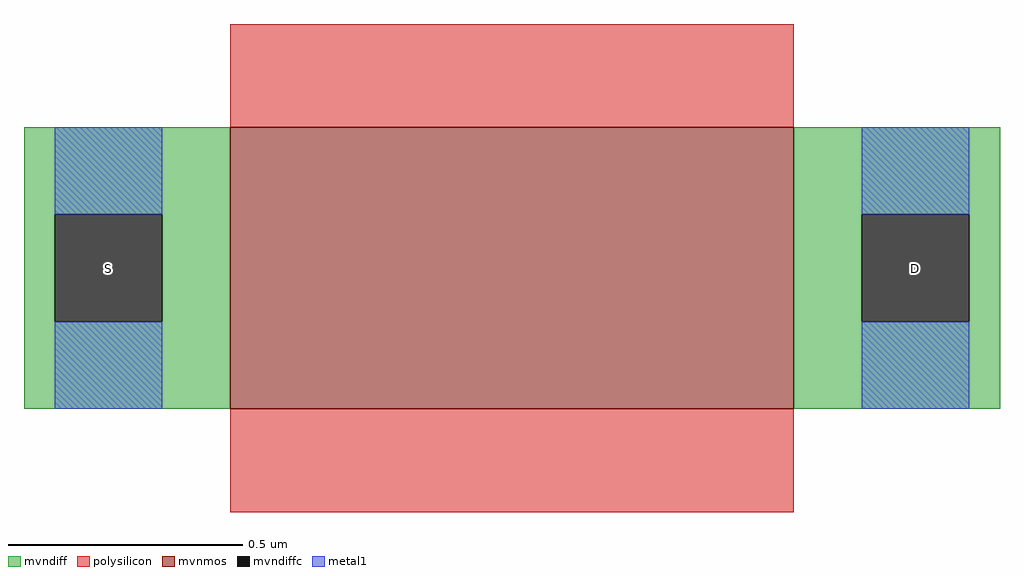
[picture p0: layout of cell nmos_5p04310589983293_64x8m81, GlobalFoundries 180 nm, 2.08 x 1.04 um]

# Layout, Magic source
magic
tech gf180mcuC
magscale 1 10
<< mvnmos >>
rect 0 0 240 120
<< mvndiff >>
rect -88 83 0 120
rect -88 37 -75 83
rect -29 37 0 83
rect -88 0 0 37
rect 240 83 328 120
rect 240 37 269 83
rect 315 37 328 83
rect 240 0 328 37
<< mvndiffc >>
rect -75 37 -29 83
rect 269 37 315 83
<< polysilicon >>
rect 0 120 240 164
rect 0 -44 240 0
<< metal1 >>
rect -75 83 -29 120
rect -75 0 -29 37
rect 269 83 315 120
rect 269 0 315 37
<< labels >>
flabel metal1 s -52 60 -52 60 0 FreeSans 200 0 0 0 S
flabel metal1 s 292 60 292 60 0 FreeSans 200 0 0 0 D
<< properties >>
string GDS_END 853342
string GDS_FILE $PDKPATH/libs.ref/gf180mcu_fd_ip_sram/gds/gf180mcu_fd_ip_sram__sram64x8m8wm1.gds
string GDS_START 852318
<< end >>
